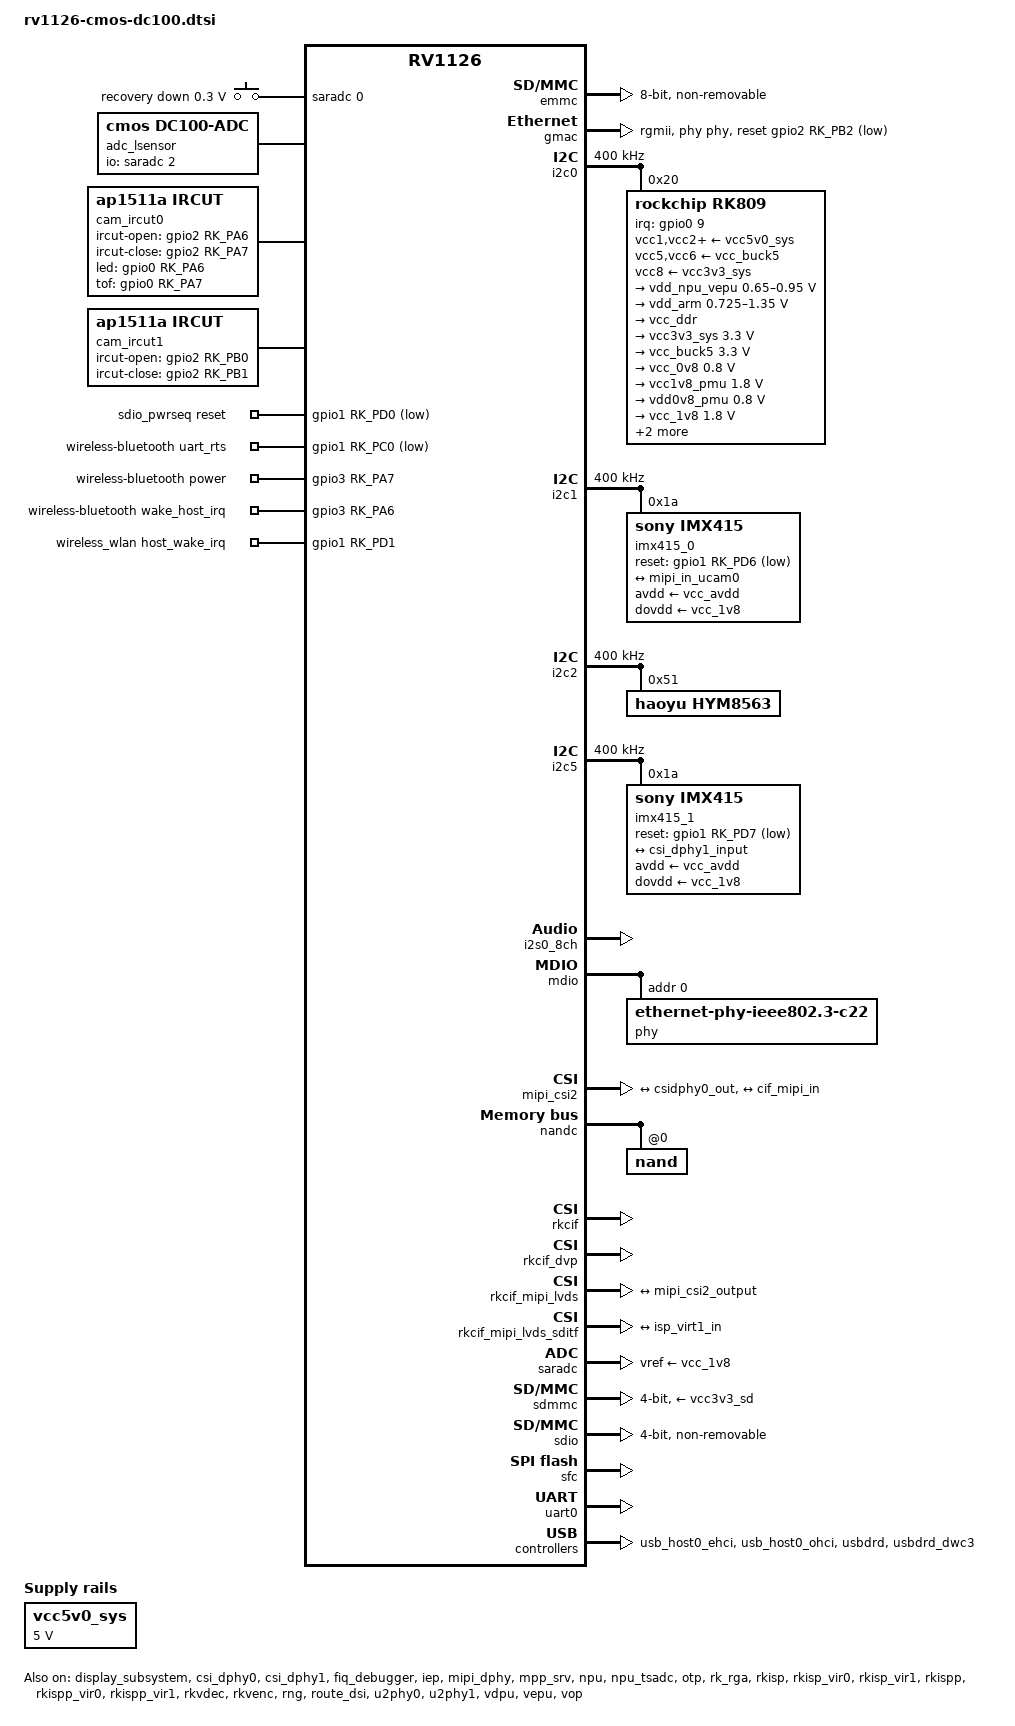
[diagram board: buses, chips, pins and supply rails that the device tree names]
// SPDX-License-Identifier: (GPL-2.0+ OR MIT)
/*
 * Copyright (c) 2019 Fuzhou Rockchip Electronics Co., Ltd.
 */

#include <dt-bindings/display/drm_mipi_dsi.h>
#include <dt-bindings/input/input.h>

/ {
    adc_keys: adc-keys {
		status = "okay";
		compatible = "adc-keys";
		io-channels = <&saradc 0>;
		io-channel-names = "buttons";
		poll-interval = <100>;
		keyup-threshold-microvolt = <1800000>;

		recovery {
                        label = "recovery down";
			            linux,code = <KEY_KP9>;
                        press-threshold-microvolt = <300000>;
                };
	};

    adc_lsensor: adc-lsensor {
		status = "okay";
		compatible = "cmos,dc100-adc";
		io-channels = <&saradc 2>;
		io-channel-names = "lsensor";
		//poll-interval = <100>;
	};

	cam_ircut0: cam-ircut0 {
		status = "okay";
		compatible = "ap1511a,ircut";
        //pinctrl-names = "rockchip,ir_default";
        //pinctrl-0 = <&irled_en>;

		ircut-open-gpios = <&gpio2 RK_PA6 GPIO_ACTIVE_HIGH>;
		ircut-close-gpios  = <&gpio2 RK_PA7 GPIO_ACTIVE_HIGH>;
        led-gpios = <&gpio0 RK_PA6 GPIO_ACTIVE_HIGH>;
        tof-gpios = <&gpio0 RK_PA7 GPIO_ACTIVE_HIGH>;
		rockchip,camera-module-index = <0>;
		rockchip,camera-module-facing = "front";
	};


//cam1

	cam_ircut1: cam-ircut1 {
		status = "okay";
		compatible = "ap1511a,ircut";
        //pinctrl-names = "rockchip,ir_default";
        //pinctrl-0 = <&ircut1_en>;

		ircut-open-gpios = <&gpio2 RK_PB0 GPIO_ACTIVE_HIGH>;
		ircut-close-gpios = <&gpio2 RK_PB1 GPIO_ACTIVE_HIGH>;
		rockchip,camera-module-index = <1>;
		rockchip,camera-module-facing = "front";
	};


	sdio_pwrseq: sdio-pwrseq {
		compatible = "mmc-pwrseq-simple";
		pinctrl-names = "default";
		pinctrl-0 = <&wifi_enable_h>;

		/*
		 * On the module itself this is one of these (depending
		 * on the actual card populated):
		 * - SDIO_RESET_L_WL_REG_ON
		 * - PDN (power down when low)
		 */
		//reset-gpios = <&gpio0 RK_PA6 GPIO_ACTIVE_LOW>;
        reset-gpios = <&gpio1 RK_PD0 GPIO_ACTIVE_LOW>;
    
	};

	vcc5v0_sys: vccsys {
		compatible = "regulator-fixed";
		regulator-name = "vcc5v0_sys";
		regulator-always-on;
		regulator-boot-on;
		regulator-min-microvolt = <5000000>;
		regulator-max-microvolt = <5000000>;
	};



	wireless-bluetooth {
		compatible = "bluetooth-platdata";
		uart_rts_gpios = <&gpio1 RK_PC0 GPIO_ACTIVE_LOW>;
		pinctrl-names = "default", "rts_gpio";
		pinctrl-0 = <&uart0_rtsn>;
		pinctrl-1 = <&uart0_rtsn_gpio>;
		//BT,power_gpio    = <&gpio0 RK_PA7 GPIO_ACTIVE_HIGH>;
        BT,power_gpio    = <&gpio3 RK_PA7 GPIO_ACTIVE_HIGH>;
		//BT,wake_host_irq = <&gpio0 RK_PA5 GPIO_ACTIVE_HIGH>;
        BT,wake_host_irq = <&gpio3 RK_PA6 GPIO_ACTIVE_HIGH>;
		status = "okay";
	};

	wireless_wlan: wireless-wlan {
		compatible = "wlan-platdata";
		rockchip,grf = <&grf>;
		//clocks = <&rk809 1>;
		//clock-names = "clk_wifi";
		//pinctrl-names = "default";
		//pinctrl-0 = <&wifi_wake_host>;
        //pinctrl-0 = <&wifi_enable_h>;
		//wifi_chip_type = "ap6255";
        wifi_chip_type = "rtl8822es";
        sdio_vref = <1800>;
		//WIFI,poweren_gpio = <&gpio0 RK_PA6 GPIO_ACTIVE_HIGH>;

        //WIFI,poweren_gpio = <&gpio1 RK_PD0 GPIO_ACTIVE_HIGH>;

	    //WIFI,host_wake_irq = <&gpio0 RK_PB0 GPIO_ACTIVE_HIGH>;
        //WIFI,reset_gpio = <&gpio3 RK_PA5 GPIO_ACTIVE_HIGH>;
        WIFI,host_wake_irq = <&gpio1 RK_PD1 GPIO_ACTIVE_HIGH>;
		status = "okay";
	};
};

&cpu0 {
	cpu-supply = <&vdd_arm>;
};

&cpu_tsadc {
	status = "okay";
};

&display_subsystem {
	status = "okay";
};

&csi_dphy0 {
	status = "okay";

	ports {
		#address-cells = <1>;
		#size-cells = <0>;
		port@0 {
			reg = <0>;
			#address-cells = <1>;
			#size-cells = <0>;

			mipi_in_ucam0: endpoint@1 {
				reg = <1>;
				remote-endpoint = <&ucam_out0>;
				data-lanes = <1 2 3 4>;
				//data-lanes = <1 2>;
			};
		};

		port@1 {
			reg = <1>;
			#address-cells = <1>;
			#size-cells = <0>;

			csidphy0_out: endpoint@0 {
				reg = <0>;
				remote-endpoint = <&mipi_csi2_input>;
				data-lanes = <1 2 3 4>;
				//data-lanes = <1 2>;
			};
		};
        
	};
};

//cam1

&csi_dphy1 {
	status = "okay";

	ports {
		#address-cells = <1>;
		#size-cells = <0>;

		port@0 {
			reg = <0>;
			#address-cells = <1>;
			#size-cells = <0>;

			csi_dphy1_input: endpoint@1 {
				reg = <1>;
				remote-endpoint = <&ucam_out1>;
				data-lanes = <1 2 3 4>;
				//data-lanes = <1 2>;
			};
		};


		port@1 {
			reg = <1>;
			#address-cells = <1>;
			#size-cells = <0>;

			csi_dphy1_output: endpoint@0 {
				reg = <0>;
				//remote-endpoint = <&mipi_csi2_input>;
				remote-endpoint = <&isp_in>;
				data-lanes = <1 2 3 4>;
				//data-lanes = <1 2>;
			};
		};
        
	};
};


&emmc {
	bus-width = <8>;
	cap-mmc-highspeed;
	non-removable;
	mmc-hs200-1_8v;
	rockchip,default-sample-phase = <90>;
	supports-emmc;
	/delete-property/ pinctrl-names;
	/delete-property/ pinctrl-0;
	status = "okay";
};

&fiq_debugger {
	status = "okay";
};

//cmos LEE 수정
&gmac {
	phy-mode = "rgmii";
	clock_in_out = "input";

	//snps,reset-gpio = <&gpio3 RK_PA0 GPIO_ACTIVE_LOW>;
	snps,reset-gpio = <&gpio2 RK_PB2 GPIO_ACTIVE_LOW>;
	snps,reset-active-low;
	/* Reset time is 20ms, 100ms for rtl8211f */
	snps,reset-delays-us = <0 20000 100000>;

	assigned-clocks = <&cru CLK_GMAC_SRC>, <&cru CLK_GMAC_TX_RX>, <&cru CLK_GMAC_ETHERNET_OUT>;
	assigned-clock-parents = <&cru CLK_GMAC_SRC_M1>, <&cru RGMII_MODE_CLK>;
	assigned-clock-rates = <125000000>, <0>, <25000000>;

	pinctrl-names = "default";
	pinctrl-0 = <&rgmiim1_miim &rgmiim1_bus2 &rgmiim1_bus4 &clkm1_out_ethernet>;

	tx_delay = <0x2a>;
	rx_delay = <0x1a>;

	phy-handle = <&phy>;
	status = "okay";
};

&i2c0 {
	status = "okay";
	clock-frequency = <400000>;

	rk809: pmic@20 {
		compatible = "rockchip,rk809";
		reg = <0x20>;
		interrupt-parent = <&gpio0>;
		interrupts = <9 IRQ_TYPE_LEVEL_LOW>;
		pinctrl-names = "default", "pmic-sleep",
			"pmic-power-off", "pmic-reset";
		pinctrl-0 = <&pmic_int>;
		pinctrl-1 = <&soc_slppin_gpio>, <&rk817_slppin_slp>;
		pinctrl-2 = <&soc_slppin_gpio>, <&rk817_slppin_pwrdn>;
		pinctrl-3 = <&soc_slppin_slp>, <&rk817_slppin_rst>;
		rockchip,system-power-controller;
		wakeup-source;
		#clock-cells = <1>;
		clock-output-names = "rk808-clkout1", "rk808-clkout2";
		/* 0: rst the pmic, 1: rst regs (default in codes) */
		pmic-reset-func = <0>;

		vcc1-supply = <&vcc5v0_sys>;
		vcc2-supply = <&vcc5v0_sys>;
		vcc3-supply = <&vcc5v0_sys>;
		vcc4-supply = <&vcc5v0_sys>;
		vcc5-supply = <&vcc_buck5>;
		vcc6-supply = <&vcc_buck5>;
		vcc7-supply = <&vcc5v0_sys>;
		vcc8-supply = <&vcc3v3_sys>;
		vcc9-supply = <&vcc5v0_sys>;

		pwrkey {
			status = "okay";
		};

		pinctrl_rk8xx: pinctrl_rk8xx {
			gpio-controller;
			#gpio-cells = <2>;

			/omit-if-no-ref/
			rk817_slppin_null: rk817_slppin_null {
				pins = "gpio_slp";
				function = "pin_fun0";
			};

			/omit-if-no-ref/
			rk817_slppin_slp: rk817_slppin_slp {
				pins = "gpio_slp";
				function = "pin_fun1";
			};

			/omit-if-no-ref/
			rk817_slppin_pwrdn: rk817_slppin_pwrdn {
				pins = "gpio_slp";
				function = "pin_fun2";
			};

			/omit-if-no-ref/
			rk817_slppin_rst: rk817_slppin_rst {
				pins = "gpio_slp";
				function = "pin_fun3";
			};
		};

		regulators {
            vdd_npu_vepu: DCDC_REG1 {
			    regulator-always-on;
			    regulator-boot-on;
			    regulator-min-microvolt = <650000>;
			    regulator-max-microvolt = <950000>;
			    regulator-ramp-delay = <6001>;
			    regulator-initial-mode = <0x2>;
			    regulator-name = "vdd_npu_vepu";
			    regulator-state-mem {
				    regulator-off-in-suspend;
			    };
		    };

			vdd_arm: DCDC_REG2 {
				regulator-always-on;
				regulator-boot-on;
				regulator-min-microvolt = <725000>;
				regulator-max-microvolt = <1350000>;
				regulator-ramp-delay = <6001>;
				regulator-initial-mode = <0x2>;
				regulator-name = "vdd_arm";
				regulator-state-mem {
					regulator-off-in-suspend;
				};
			};

			vcc_ddr: DCDC_REG3 {
				regulator-always-on;
				regulator-boot-on;
				regulator-initial-mode = <0x2>;
				regulator-name = "vcc_ddr";
				regulator-state-mem {
					regulator-on-in-suspend;
				};
			};

			vcc3v3_sys: DCDC_REG4 {
				regulator-always-on;
				regulator-boot-on;
				regulator-min-microvolt = <3300000>;
				regulator-max-microvolt = <3300000>;
				regulator-initial-mode = <0x2>;
				regulator-name = "vcc3v3_sys";
				regulator-state-mem {
					regulator-on-in-suspend;
					regulator-suspend-microvolt = <3300000>;
				};
			};

			//cmos LEE 수정
			vcc_buck5: DCDC_REG5 {
				regulator-always-on;
				regulator-boot-on;
				
				regulator-min-microvolt = <3300000>;
				regulator-max-microvolt = <3300000>;

				//regulator-min-microvolt = <2200000>;
				//regulator-max-microvolt = <2200000>;
				regulator-name = "vcc_buck5";
				regulator-state-mem {
					regulator-on-in-suspend;
					//regulator-suspend-microvolt = <2200000>;
					regulator-suspend-microvolt = <3300000>;
				};
			};

			vcc_0v8: LDO_REG1 {
				regulator-always-on;
				regulator-boot-on;
				regulator-min-microvolt = <800000>;
				regulator-max-microvolt = <800000>;
				regulator-name = "vcc_0v8";
				regulator-state-mem {
					regulator-off-in-suspend;
				};
			};

			vcc1v8_pmu: LDO_REG2 {
				regulator-always-on;
				regulator-boot-on;
				regulator-min-microvolt = <1800000>;
				regulator-max-microvolt = <1800000>;
				regulator-name = "vcc1v8_pmu";
				regulator-state-mem {
					regulator-on-in-suspend;
					regulator-suspend-microvolt = <1800000>;
				};
			};

			vdd0v8_pmu: LDO_REG3 {
				regulator-always-on;
				regulator-boot-on;
				regulator-min-microvolt = <800000>;
				regulator-max-microvolt = <800000>;
				regulator-name = "vcc0v8_pmu";
				regulator-state-mem {
					regulator-on-in-suspend;
					regulator-suspend-microvolt = <800000>;
				};
			};

			vcc_1v8: LDO_REG4 {
				regulator-always-on;
				regulator-boot-on;
				regulator-min-microvolt = <1800000>;
				regulator-max-microvolt = <1800000>;
				regulator-name = "vcc_1v8";
				regulator-state-mem {
					regulator-on-in-suspend;
					regulator-suspend-microvolt = <1800000>;
				};
			};
/*
			vcc_dovdd: LDO_REG5 {
				//regulator-boot-on;
				//regulator-min-microvolt = <1800000>;
				//regulator-max-microvolt = <1800000>;
				regulator-min-microvolt = <1200000>;
				regulator-max-microvolt = <1200000>;
                regulator-min-microvolt = <0>;
				regulator-max-microvolt = <0>;
				regulator-name = "vcc_dovdd";
				regulator-state-mem {
					regulator-off-in-suspend;
				};
			};
*/
            

			//cmos LEE 수정
			vcc_dvdd: LDO_REG6 {
				regulator-always-on; //
				regulator-boot-on;  //
				regulator-min-microvolt = <3300000>;
				regulator-max-microvolt = <3300000>;
				regulator-name = "vcc_dvdd";
				regulator-state-mem {
					regulator-off-in-suspend;
					regulator-suspend-microvolt = <3300000>;
				};
			};

			//cmos LEE 수정
			vcc_avdd: LDO_REG7 {
				regulator-always-on; //
				regulator-boot-on;  //
				regulator-min-microvolt = <3300000>;
				regulator-max-microvolt = <3300000>;
				regulator-name = "vcc_avdd";
				regulator-state-mem {
					regulator-off-in-suspend;
					regulator-suspend-microvolt = <3300000>;
				};
			};

			vccio_sd: LDO_REG8 {
				regulator-always-on;
				regulator-boot-on;
				regulator-min-microvolt = <1800000>;
				regulator-max-microvolt = <3300000>;
				regulator-name = "vccio_sd";
				regulator-state-mem {
					regulator-off-in-suspend;
				};
			};

			vcc3v3_sd: LDO_REG9 {
				regulator-always-on;
				regulator-boot-on;
				regulator-min-microvolt = <3300000>;
				regulator-max-microvolt = <3300000>;
				regulator-name = "vcc3v3_sd";
				regulator-state-mem {
					regulator-off-in-suspend;
				};
			};

			vcc5v0_host: SWITCH_REG1 {
				regulator-name = "vcc5v0_host";
			};

			vcc_3v3: SWITCH_REG2 {
				regulator-always-on;
				regulator-boot-on;
				regulator-name = "vcc_3v3";
			};
		};

		rk809_codec: codec {
			#sound-dai-cells = <0>;
			compatible = "rockchip,rk809-codec", "rockchip,rk817-codec";
			clocks = <&cru MCLK_I2S0_TX_OUT2IO>;
			clock-names = "mclk";
			pinctrl-names = "default";
			assigned-clocks = <&cru MCLK_I2S0_TX_OUT2IO>;
			assigned-clock-parents = <&cru MCLK_I2S0_TX>;
			pinctrl-0 = <&i2s0m0_mclk>;
			hp-volume = <20>;
			spk-volume = <3>;
		};
	};
};

&i2c1 {
	status = "okay";
	clock-frequency = <400000>;
    //rockchip,pins = <0 RK_PA7 0 &pcfg_pull_up>;

	imx415_0: imx415-0@1a {
		compatible = "sony,imx415";
		reg = <0x1a>;
		clocks = <&cru CLK_MIPICSI_OUT>;
		clock-names = "xvclk";
		power-domains = <&power RV1126_PD_VI>;
		pinctrl-names = "rockchip,camera_default";
		pinctrl-0 = <&mipicsi_clk0>;
		pinctrl-1 = <&imx415A_rst>;
        //pinctrl-2 = <&tof_en>;
        //rockchip,pins = <0 RK_PA7 0 &pcfg_pull_up>;

		avdd-supply = <&vcc_avdd>;    //3.3v
		dovdd-supply = <&vcc_1v8>;  //1.8v
		//dvdd-supply = <&vcc_dovdd>;    //1.2v

		//rockchip,pins = <1 RK_PD6 0 &pcfg_pull_up>;
		//pwdn-gpios = <&gpio1 RK_PD4 GPIO_ACTIVE_HIGH>;
		reset-gpios = <&gpio1 RK_PD6 GPIO_ACTIVE_LOW>;
		rockchip,camera-module-index = <0>;
		rockchip,camera-module-facing = "front";
		rockchip,camera-module-name = "YT-RK415-V1";
		rockchip,camera-module-lens-name = "IR0147-60IRC-8M-F20";
		ir-cut = <&cam_ircut0>;
		port {
			ucam_out0: endpoint {
				remote-endpoint = <&mipi_in_ucam0>;
				data-lanes = <1 2 3 4>;
				//data-lanes = <1 2>;
			};
		};
	};
	
};


&i2c2 {
	status = "okay";
	pinctrl-names = "default";
	pinctrl-0 = <&i2c2_xfer>;
	clock-frequency = <400000>;
	i2c-scl-rising-time-ns = <138>;
	i2c-scl-falling-time-ns = <4>;
	
	hym8563: hym8563@51 {
		compatible = "haoyu,hym8563";
		reg = <0x51>;
		#clock-cells = <0>;
		status = "okay";
	};	
};
//cam1

&i2c5 {
	status = "okay";
	clock-frequency = <400000>;

	imx415_1: imx415-1@1a {
		compatible = "sony,imx415";
		reg = <0x1a>;
		clocks = <&cru CLK_MIPICSI_OUT>;
		clock-names = "xvclk";
		power-domains = <&power RV1126_PD_VI>;
		pinctrl-names = "rockchip,camera_default";
		pinctrl-0 = <&mipicsi_clk1>;
		pinctrl-1 = <&imx415B_rst>;

		avdd-supply = <&vcc_avdd>;    //3.3v
		dovdd-supply = <&vcc_1v8>;  //1.8v
		//dvdd-supply = <&vcc_dovdd>;    //1.2v

		//rockchip,pins = <1 RK_PD6 0 &pcfg_pull_up>;
		//pwdn-gpios = <&gpio1 RK_PD4 GPIO_ACTIVE_HIGH>;
		reset-gpios = <&gpio1 RK_PD7 GPIO_ACTIVE_LOW>;
		rockchip,camera-module-index = <1>;
		rockchip,camera-module-facing = "front";
		rockchip,camera-module-name = "YT-RK415-V1";
		rockchip,camera-module-lens-name = "IR0147-60IRC-8M-F20";
		ir-cut = <&cam_ircut1>;
		port {
			ucam_out1: endpoint {
				remote-endpoint = <&csi_dphy1_input>;
				data-lanes = <1 2 3 4>;
				//data-lanes = <1 2>;
			};
		};
	};
	

};


&i2s0_8ch {
	status = "okay";
	#sound-dai-cells = <0>;
	rockchip,clk-trcm = <1>;
	rockchip,i2s-rx-route = <3 1 2 0>;
	pinctrl-names = "default";
	pinctrl-0 = <&i2s0m0_sclk_tx
		     &i2s0m0_lrck_tx
		     &i2s0m0_sdo0
		     &i2s0m0_sdo1_sdi3>;
};

&iep {
	status = "okay";
};

&iep_mmu {
	status = "okay";
};

&mdio {
	phy: phy@0 {
		compatible = "ethernet-phy-ieee802.3-c22";
		reg = <0x0>;
		clocks = <&cru CLK_GMAC_ETHERNET_OUT>;
	};
};

&mipi_csi2 {
	status = "okay";

	ports {
		#address-cells = <1>;
		#size-cells = <0>;

		port@0 {
			reg = <0>;
			#address-cells = <1>;
			#size-cells = <0>;

			mipi_csi2_input: endpoint@1 {
				reg = <1>;
				remote-endpoint = <&csidphy0_out>;
				data-lanes = <1 2 3 4>;
				//data-lanes = <1 2>;
			};
		};

		port@1 {
			reg = <1>;
			#address-cells = <1>;
			#size-cells = <0>;

			mipi_csi2_output: endpoint@0 {
				reg = <0>;
				remote-endpoint = <&cif_mipi_in>;
				data-lanes = <1 2 3 4>;
				//data-lanes = <1 2>;
			};
		};
	};
};

&mipi_dphy {
	status = "okay";
};

&mpp_srv {
	status = "okay";
};

&nandc {
	/delete-property/ pinctrl-names;
	/delete-property/ pinctrl-0;
	#address-cells = <1>;
	#size-cells = <0>;

	nand@0 {
		reg = <0>;
		nand-bus-width = <8>;
		nand-ecc-mode = "hw";
		nand-ecc-strength = <16>;
		nand-ecc-step-size = <1024>;
	};
};

&npu {
	npu-supply = <&vdd_npu_vepu>;
	status = "okay";
};

&npu_tsadc {
	status = "okay";
};

&optee {
	status = "disabled";
};

&otp {
	status = "okay";
};

&pdm {
	status = "disabled";
	#sound-dai-cells = <0>;
	pinctrl-names = "default";
	pinctrl-0 = <&pdmm0_clk
		     &pdmm0_clk1
		     &pdmm0_sdi0
		     &pdmm0_sdi1
		     &pdmm0_sdi2>;
};

&pinctrl {
	pmic {
		/omit-if-no-ref/
		pmic_int: pmic_int {
			rockchip,pins =
				<0 RK_PB1 RK_FUNC_GPIO &pcfg_pull_up>;
		};

		/omit-if-no-ref/
		soc_slppin_gpio: soc_slppin_gpio {
			rockchip,pins =
				<0 RK_PB2 RK_FUNC_GPIO &pcfg_output_low>;
		};

		/omit-if-no-ref/
		soc_slppin_slp: soc_slppin_slp {
			rockchip,pins =
				<0 RK_PB2 RK_FUNC_1 &pcfg_pull_none>;
		};

		/omit-if-no-ref/
		soc_slppin_rst: soc_slppin_rst {
			rockchip,pins =
				<0 RK_PB2 RK_FUNC_2 &pcfg_pull_none>;
		};
    };

	sdio-pwrseq {
		/omit-if-no-ref/
		wifi_enable_h: wifi-enable-h {
			/*rockchip,pins = <1 RK_PD0 RK_FUNC_GPIO &pcfg_pull_up>;*/
            rockchip,pins = <1 RK_PD0 RK_FUNC_GPIO &pcfg_pull_none>;
		};
	};

	wireless-wlan {
		/omit-if-no-ref/
		wifi_wake_host: wifi-wake-host {
			/*rockchip,pins = <0 RK_PB0 0 &pcfg_pull_up>;*/
            rockchip,pins = <1 RK_PD1 0 &pcfg_pull_up>;
		};
	};

	imx415A-rst {
		/omit-if-no-ref/
		imx415A_rst: imx415A_rst {
			rockchip,pins = <1 RK_PD6 0 &pcfg_pull_up>;
		};
	};
	
	imx415B-rst {
		/omit-if-no-ref/
		imx415B_rst: imx415B_rst {
			rockchip,pins = <1 RK_PD7 0 &pcfg_pull_up>;
		};
	};

    irled-en {
		/omit-if-no-ref/
		irled_en: irled_en {
			rockchip,pins = <0 RK_PA6 0 &pcfg_pull_down>;
		};
	};

    
};

&pmu_io_domains {
	status = "okay";

	pmuio0-supply = <&vcc1v8_pmu>;
	pmuio1-supply = <&vcc3v3_sys>;
	vccio2-supply = <&vccio_sd>;
	vccio3-supply = <&vcc_1v8>;
	vccio4-supply = <&vcc_1v8>;
	vccio5-supply = <&vcc_3v3>;
	vccio6-supply = <&vcc_1v8>;
	vccio7-supply = <&vcc_1v8>;
};

&pwm0 {
	status = "disabled";
};

&pwm1 {
	status = "disabled";
};


&pwm3 {
	status = "disabled";
};

&ramoops {
	status = "okay";
};

&rk_rga {
	status = "okay";
};

&rkcif {
	status = "okay";
};

&rkcif_mmu {
	status = "disabled";
};

&rkcif_dvp {
	status = "okay";

	port {
		/* Parallel bus endpoint */
		/*
		cif_para_in: endpoint {
			remote-endpoint = <&cam_para_out1>;
			bus-width = <12>;
			hsync-active = <1>;
			vsync-active = <0>;
		};
		*/
	};
};

&rkcif_mipi_lvds {
	status = "okay";

	port {
		/* MIPI CSI-2 endpoint */
		cif_mipi_in: endpoint {
			remote-endpoint = <&mipi_csi2_output>;
			data-lanes = <1 2 3 4>;
			//data-lanes = <1 2>;
		};
	};
};

&rkcif_mipi_lvds_sditf {
	status = "okay";

	port {
		// MIPI CSI-2 endpoint
		//mipi_lvds_sditf: endpoint {
		//cam1 위에거 비활성화
        cif_sditf: endpoint {
			//remote-endpoint = <&isp_in>;
			//cam1 위에거 비활성화
            remote-endpoint = <&isp_virt1_in>;
			data-lanes = <1 2 3 4>;
		};
	};
};


&rkisp {
	status = "okay";
};

&rkisp_vir0 {
	status = "okay";

	ports {
		port@0 {
			reg = <0>;
			#address-cells = <1>;
			#size-cells = <0>;

			isp_in: endpoint@0 {
				reg = <0>;
				//remote-endpoint = <&mipi_lvds_sditf>;
				//cam1 위에거 비활성화
                remote-endpoint = <&csi_dphy1_output>;
			};
		};
	};
};

//cam1

&rkisp_vir1 {
	status = "okay";
	ports {
		port@0 {
			reg = <0>;
			#address-cells = <1>;
			#size-cells = <0>;

			isp_virt1_in: endpoint@0 {
				reg = <0>;
				remote-endpoint = <&cif_sditf>;
			};
		};
	};
};


&rkisp_mmu {
	status = "disabled";
};

&rkispp {
	status = "okay";
	/* the max input w h and fps of mulit sensor */
	//max-input = <2688 1520 30>;
};

&rkispp_vir0 {
	status = "okay";
};


//cam1

&rkispp_vir1 {
	status = "okay";
};


&rkispp_mmu {
	status = "okay";
};

&rkvdec {
	status = "okay";
};

&rkvdec_mmu {
	status = "okay";
};

&rkvenc {
	venc-supply = <&vdd_npu_vepu>;
	status = "okay";
};

&rkvenc_mmu {
	status = "okay";
};

&rng {
	status = "okay";
};

&rockchip_suspend {
	status = "okay";
	rockchip,sleep-debug-en = <1>;
	rockchip,sleep-mode-config = <
		(0
		| RKPM_SLP_ARMOFF
		| RKPM_SLP_PMU_PMUALIVE_32K
		| RKPM_SLP_PMU_DIS_OSC
		| RKPM_SLP_PMIC_LP
		)
	>;
	rockchip,wakeup-config = <
		(0
		| RKPM_GPIO_WKUP_EN
		)
	>;
};

&route_dsi {
	status = "okay";
};

&saradc {
	status = "okay";
	vref-supply = <&vcc_1v8>;
};

&sdmmc {
	bus-width = <4>;
	cap-mmc-highspeed;
	cap-sd-highspeed;
	card-detect-delay = <200>;
	rockchip,default-sample-phase = <90>;
	supports-sd;
	sd-uhs-sdr12;
	sd-uhs-sdr25;
	sd-uhs-sdr104;
	vqmmc-supply = <&vccio_sd>;
	vmmc-supply = <&vcc3v3_sd>;
	status = "okay";
    //status = "disabled";
};

&sdio {
//&sdmmc {
	max-frequency = <200000000>;
    //clock-frequency = <150000000>;
    //    clock-freq-min-max = <200000 150000000>;
	bus-width = <4>;
	cap-sd-highspeed;
	cap-sdio-irq; 
	keep-power-in-suspend;

	non-removable;

	rockchip,default-sample-phase = <90>;
	sd-uhs-sdr104;
	supports-sdio;

	mmc-pwrseq = <&sdio_pwrseq>;

	status = "okay";
};

&sfc {
	/delete-property/ pinctrl-names;
	/delete-property/ pinctrl-0;
	status = "okay";
};

&u2phy0 {
	status = "okay";
	vup-gpios = <&gpio0 RK_PC1 GPIO_ACTIVE_LOW>;
	u2phy_otg: otg-port {
		status = "okay";
	};
};

&u2phy1 {
	status = "okay";
	u2phy_host: host-port {
		status = "okay";
		phy-supply = <&vcc5v0_host>;
	};
};

&uart0 {
	pinctrl-names = "default";
	pinctrl-0 = <&uart0_xfer &uart0_ctsn>;
	status = "okay";
};

&usb_host0_ehci {
	status = "okay";
};

&usb_host0_ohci {
	status = "okay";
};

&usbdrd {
	status = "okay";
};

&usbdrd_dwc3 {
	status = "okay";
	extcon = <&u2phy0>;
};

&vdpu {
	status = "okay";
};

&vepu {
	status = "okay";
};

&vpu_mmu {
	status = "okay";
};

&vop {
	status = "okay";
};

&vop_mmu {
	status = "okay";
};

&rkvenc_opp_table {
	/*
	 * max IR-drop values on different freq condition for this board!
	 */
	rockchip,board-irdrop = <
	     /* MHz	MHz	uV */
		500	594	50000
	>;
};
